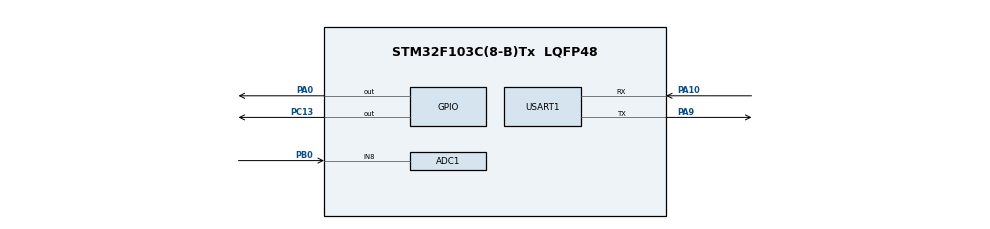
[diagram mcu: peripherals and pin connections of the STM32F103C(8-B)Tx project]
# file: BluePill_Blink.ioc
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ADC1.Channel-7\#ChannelRegularConversion=ADC_CHANNEL_8
ADC1.NbrOfConversionFlag=1
ADC1.Rank-7\#ChannelRegularConversion=1
ADC1.SamplingTime-7\#ChannelRegularConversion=ADC_SAMPLETIME_1CYCLE_5
ADC1.master=1
Mcu.Family=STM32F1
Mcu.Name=STM32F103C(8-B)Tx
Mcu.Package=LQFP48
NVIC.PriorityGroup=NVIC_PRIORITYGROUP_4
PA0-WKUP.Signal=GPIO_Output
PA10.Mode=Asynchronous
PA10.Signal=USART1_RX
PA9.Mode=Asynchronous
PA9.Signal=USART1_TX
PB0.Signal=ADCx_IN8
PC13-TAMPER-RTC.Signal=GPIO_Output
ProjectManager.HeapSize=0x200
ProjectManager.StackSize=0x400
ProjectManager.TargetToolchain=STM32CubeIDE
RCC.APB1Freq_Value=8000000
RCC.APB2Freq_Value=8000000
SH.ADCx_IN8.0=ADC1_IN8,IN8
USART1.VirtualMode=VM_ASYNC
VP_SYS_VS_ND.Mode=No_Debug
board=custom

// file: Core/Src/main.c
/* USER CODE BEGIN Header */
/**
  ******************************************************************************
  * @file           : main.c
  * @brief          : Main program body
  ******************************************************************************
  * @attention
  *
  * Copyright (c) 2024 STMicroelectronics.
  * All rights reserved.
  *
  * This software is licensed under terms that can be found in the LICENSE file
  * in the root directory of this software component.
  * If no LICENSE file comes with this software, it is provided AS-IS.
  *
  ******************************************************************************
  */
/* USER CODE END Header */
#include "main.h"

ADC_HandleTypeDef hadc1;

UART_HandleTypeDef huart1;

void SystemClock_Config(void);
static void MX_GPIO_Init(void);
static void MX_USART1_UART_Init(void);
static void MX_ADC1_Init(void);

/* USER CODE BEGIN 0 */

void signal_sos(GPIO_TypeDef* pin_type, uint16_t pin, GPIO_PinState pin_on_state,  int dot_ms)
{
	  GPIO_PinState pin_off_state = GPIO_PIN_RESET;
	  if(pin_on_state == GPIO_PIN_RESET) pin_off_state = GPIO_PIN_SET;

	  //morse units
      int dash_ms = 3*dot_ms;

      for (int i = 0; i < 3; i++) {
    	  HAL_GPIO_WritePin(pin_type, pin, pin_on_state);
    	  HAL_Delay(dot_ms);

    	  HAL_GPIO_WritePin(pin_type, pin, pin_off_state);
    	  HAL_Delay(dot_ms);
      }

      for (int i = 0; i < 3; i++) {
    	  HAL_GPIO_WritePin(pin_type, pin, pin_on_state);
    	  HAL_Delay(dash_ms);

    	  HAL_GPIO_WritePin(pin_type, pin, pin_off_state);
    	  HAL_Delay(dot_ms);
      }

      for (int i = 0; i < 3; i++) {
    	  HAL_GPIO_WritePin(pin_type, pin, pin_on_state);
    	  HAL_Delay(dot_ms);

    	  HAL_GPIO_WritePin(pin_type, pin, pin_off_state);
    	  HAL_Delay(dot_ms);
      }
}

void signal_on_interval(GPIO_TypeDef* pin_type, uint16_t pin, GPIO_PinState pin_on_state,  int interval, int times)
{
	  GPIO_PinState pin_off_state = GPIO_PIN_RESET;
	  if(pin_on_state == GPIO_PIN_RESET) pin_off_state = GPIO_PIN_SET;

    for (int i = 0; i < times; i++) {
  	  HAL_GPIO_WritePin(pin_type, pin, pin_on_state);
  	  HAL_Delay(interval);

  	  HAL_GPIO_WritePin(pin_type, pin, pin_off_state);
  	  HAL_Delay(interval);
    }
}

void uart_send_message(unsigned char * msg)
{
    HAL_UART_Transmit(&huart1, msg, strlen(msg), HAL_MAX_DELAY);
}

/* USER CODE END 0 */

int main(void)
{

  /* MCU Configuration--------------------------------------------------------*/

  /* Reset of all peripherals, Initializes the Flash interface and the Systick. */
  HAL_Init();

  /* USER CODE BEGIN Init */
  char  adc_msg[30];

  /* USER CODE END Init */

  /* Configure the system clock */
  SystemClock_Config();

  /* Initialize all configured peripherals */
  MX_GPIO_Init();
  MX_USART1_UART_Init();
  MX_ADC1_Init();

  /* Infinite loop */
  /* USER CODE BEGIN WHILE */
  while (1)
  {
	  uart_send_message("---------Routine started---------\n\r");

	  signal_on_interval(GPIOC, GPIO_PIN_13, GPIO_PIN_RESET, 50, 10);
	  signal_on_interval(GPIOA, GPIO_PIN_0, GPIO_PIN_SET, 50, 10);

  	  HAL_GPIO_WritePin(GPIOA, GPIO_PIN_0, GPIO_PIN_SET);

	  signal_sos(GPIOC, GPIO_PIN_13, GPIO_PIN_RESET, 250);
	  uart_send_message("SOS pin 13\n\r");
	  HAL_Delay(1000);

	  uart_send_message("checking ADC\n\r");

	  HAL_ADC_Start(&hadc1);
	  HAL_ADC_PollForConversion(&hadc1, 20);
	  uint16_t adcval = HAL_ADC_GetValue(&hadc1);
	  float volt = adcval / 4095 * 3.3;

	  sprintf(adc_msg, "LED voltage: %u \r\n", adcval);
	  uart_send_message(adc_msg);

	  //signal_sos(GPIOA, GPIO_PIN_0, GPIO_PIN_SET, 200);
	  //uart_send_message("SOS pin 0\n\r");
	  //HAL_Delay(1000);

	  uart_send_message("---------Routine finished---------\n\r");

    /* USER CODE END WHILE */

  }
}

void SystemClock_Config(void)
{
  RCC_OscInitTypeDef RCC_OscInitStruct = {0};
  RCC_ClkInitTypeDef RCC_ClkInitStruct = {0};
  RCC_PeriphCLKInitTypeDef PeriphClkInit = {0};

  /** Initializes the RCC Oscillators according to the specified parameters
  * in the RCC_OscInitTypeDef structure.
  */
  RCC_OscInitStruct.OscillatorType = RCC_OSCILLATORTYPE_HSI;
  RCC_OscInitStruct.HSIState = RCC_HSI_ON;
  RCC_OscInitStruct.HSICalibrationValue = RCC_HSICALIBRATION_DEFAULT;
  RCC_OscInitStruct.PLL.PLLState = RCC_PLL_NONE;
  if (HAL_RCC_OscConfig(&RCC_OscInitStruct) != HAL_OK)
  {
    Error_Handler();
  }

  /** Initializes the CPU, AHB and APB buses clocks
  */
  RCC_ClkInitStruct.ClockType = RCC_CLOCKTYPE_HCLK|RCC_CLOCKTYPE_SYSCLK
                              |RCC_CLOCKTYPE_PCLK1|RCC_CLOCKTYPE_PCLK2;
  RCC_ClkInitStruct.SYSCLKSource = RCC_SYSCLKSOURCE_HSI;
  RCC_ClkInitStruct.AHBCLKDivider = RCC_SYSCLK_DIV1;
  RCC_ClkInitStruct.APB1CLKDivider = RCC_HCLK_DIV1;
  RCC_ClkInitStruct.APB2CLKDivider = RCC_HCLK_DIV1;

  if (HAL_RCC_ClockConfig(&RCC_ClkInitStruct, FLASH_LATENCY_0) != HAL_OK)
  {
    Error_Handler();
  }
  PeriphClkInit.PeriphClockSelection = RCC_PERIPHCLK_ADC;
  PeriphClkInit.AdcClockSelection = RCC_ADCPCLK2_DIV2;
  if (HAL_RCCEx_PeriphCLKConfig(&PeriphClkInit) != HAL_OK)
  {
    Error_Handler();
  }
}

static void MX_ADC1_Init(void)
{

  ADC_ChannelConfTypeDef sConfig = {0};

  /** Common config
  */
  hadc1.Instance = ADC1;
  hadc1.Init.ScanConvMode = ADC_SCAN_DISABLE;
  hadc1.Init.ContinuousConvMode = DISABLE;
  hadc1.Init.DiscontinuousConvMode = DISABLE;
  hadc1.Init.ExternalTrigConv = ADC_SOFTWARE_START;
  hadc1.Init.DataAlign = ADC_DATAALIGN_RIGHT;
  hadc1.Init.NbrOfConversion = 1;
  if (HAL_ADC_Init(&hadc1) != HAL_OK)
  {
    Error_Handler();
  }

  /** Configure Regular Channel
  */
  sConfig.Channel = ADC_CHANNEL_8;
  sConfig.Rank = ADC_REGULAR_RANK_1;
  sConfig.SamplingTime = ADC_SAMPLETIME_1CYCLE_5;
  if (HAL_ADC_ConfigChannel(&hadc1, &sConfig) != HAL_OK)
  {
    Error_Handler();
  }

}

static void MX_USART1_UART_Init(void)
{

  huart1.Instance = USART1;
  huart1.Init.BaudRate = 115200;
  huart1.Init.WordLength = UART_WORDLENGTH_8B;
  huart1.Init.StopBits = UART_STOPBITS_1;
  huart1.Init.Parity = UART_PARITY_NONE;
  huart1.Init.Mode = UART_MODE_TX_RX;
  huart1.Init.HwFlowCtl = UART_HWCONTROL_NONE;
  huart1.Init.OverSampling = UART_OVERSAMPLING_16;
  if (HAL_UART_Init(&huart1) != HAL_OK)
  {
    Error_Handler();
  }

}

static void MX_GPIO_Init(void)
{
  GPIO_InitTypeDef GPIO_InitStruct = {0};

  /* GPIO Ports Clock Enable */
  __HAL_RCC_GPIOC_CLK_ENABLE();
  __HAL_RCC_GPIOA_CLK_ENABLE();
  __HAL_RCC_GPIOB_CLK_ENABLE();

  /*Configure GPIO pin Output Level */
  HAL_GPIO_WritePin(GPIOC, GPIO_PIN_13, GPIO_PIN_RESET);

  /*Configure GPIO pin Output Level */
  HAL_GPIO_WritePin(GPIOA, GPIO_PIN_0, GPIO_PIN_RESET);

  /*Configure GPIO pin : PC13 */
  GPIO_InitStruct.Pin = GPIO_PIN_13;
  GPIO_InitStruct.Mode = GPIO_MODE_OUTPUT_PP;
  GPIO_InitStruct.Pull = GPIO_NOPULL;
  GPIO_InitStruct.Speed = GPIO_SPEED_FREQ_LOW;
  HAL_GPIO_Init(GPIOC, &GPIO_InitStruct);

  /*Configure GPIO pin : PA0 */
  GPIO_InitStruct.Pin = GPIO_PIN_0;
  GPIO_InitStruct.Mode = GPIO_MODE_OUTPUT_PP;
  GPIO_InitStruct.Pull = GPIO_NOPULL;
  GPIO_InitStruct.Speed = GPIO_SPEED_FREQ_LOW;
  HAL_GPIO_Init(GPIOA, &GPIO_InitStruct);

}

void Error_Handler(void)
{
  __disable_irq();
  while (1)
  {
  }
}
